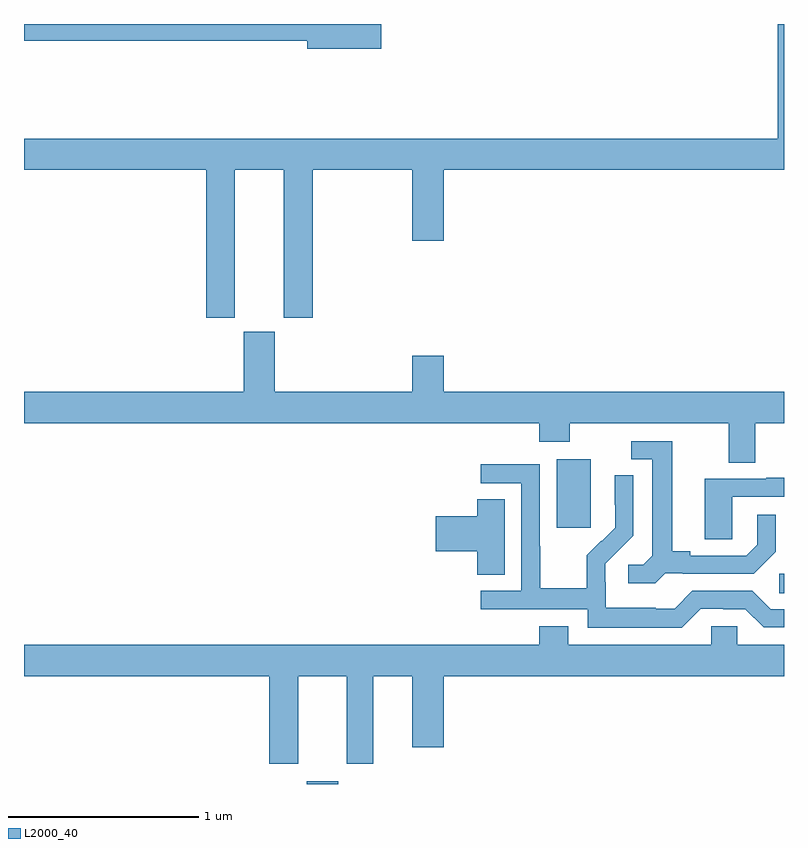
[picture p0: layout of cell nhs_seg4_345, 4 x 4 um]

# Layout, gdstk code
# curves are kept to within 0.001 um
import gdstk
lib = gdstk.Library(unit=1e-6, precision=1e-09)
def R(c, l, rs):  # rectangles x0, y0, x1, y1
    for r in rs: c.add(gdstk.rectangle(r[:2], r[2:], *l))
def P(c, l, *ps):  # polygons
    for p in ps: c.add(gdstk.Polygon(p, *l))
L2000_40 = (2000, 40)

nhs_seg4_345 = lib.new_cell('nhs_seg4_345')
R(nhs_seg4_345, L2000_40, [(128.489,814.9,128.653,814.915), (130.974,815.905,131,816.006), (129.803,816.249,129.982,816.61)])
P(nhs_seg4_345, L2000_40, [(128.881,818.9),(127,818.9),(127,818.812),(128.492,818.812),(128.492,818.77),(128.881,818.77)],
  [(128.11,818.132),(128.366,818.132),(128.366,817.353),(128.519,817.353),(128.519,818.132),(129.044,818.132),(129.044,817.758),(129.208,817.758),(129.208,818.132),(131,818.132),(131,818.9),(130.967,818.9),(130.967,818.296),(127,818.296),(127,818.132),(127.958,818.132),(127.958,817.353),(128.11,817.353)],
  [(130.849,816.8),(131,816.8),(131,816.964),(129.208,816.964),(129.208,817.153),(129.044,817.153),(129.044,816.964),(128.32,816.964),(128.32,817.281),(128.156,817.281),(128.156,816.964),(127,816.964),(127,816.8),(129.713,816.8),(129.713,816.701),(129.873,816.701),(129.873,816.8),(130.709,816.8),(130.709,816.592),(130.849,816.592)],
  [(130.374,816.009),(130.468,816.009),(130.468,816.006),(130.84,816.006),(130.956,816.122),(130.956,816.316),(130.859,816.316),(130.859,816.159),(130.802,816.102),(130.507,816.102),(130.507,816.125),(130.411,816.125),(130.411,816.705),(130.197,816.705),(130.197,816.609),(130.307,816.609),(130.307,816.101),(130.26,816.054),(130.179,816.054),(130.179,815.957),(130.322,815.957)],
  [(130.563,815.823),(130.679,815.823),(130.679,815.82),(130.797,815.82),(130.893,815.724),(131,815.724),(131,815.82),(130.929,815.82),(130.833,815.916),(130.518,815.916),(130.425,815.823),(130.325,815.823),(130.325,815.827),(130.062,815.827),(130.062,815.961),(130.06,815.961),(130.06,816.058),(130.206,816.206),(130.206,816.524),(130.11,816.524),(130.11,816.37),(130.112,816.37),(130.112,816.248),(130.041,816.177),(130.038,816.18),(129.961,816.103),(129.961,815.929),(129.717,815.929),(129.717,816.152),(129.714,816.152),(129.714,816.582),(129.405,816.582),(129.405,816.483),(129.618,816.483),(129.618,815.916),(129.405,815.916),(129.405,815.82),(129.966,815.82),(129.966,815.723),(130.463,815.723)],
  [(130.728,816.411),(131,816.411),(131,816.511),(130.907,816.511),(130.907,816.507),(130.583,816.507),(130.583,816.187),(130.728,816.187)],
  [(129.529,816.398),(129.386,816.398),(129.386,816.308),(129.168,816.308),(129.168,816.125),(129.386,816.125),(129.386,816.001),(129.529,816.001)],
  [(128.443,815.468),(128.699,815.468),(128.699,815.007),(128.839,815.007),(128.839,815.468),(129.044,815.468),(129.044,815.094),(129.208,815.094),(129.208,815.468),(131,815.468),(131,815.632),(130.755,815.632),(130.755,815.73),(130.617,815.73),(130.617,815.632),(129.865,815.632),(129.865,815.731),(129.713,815.731),(129.713,815.632),(127,815.632),(127,815.468),(128.291,815.468),(128.291,815.007),(128.443,815.007)])

lib.write_gds('nhs_seg4_345.gds')
